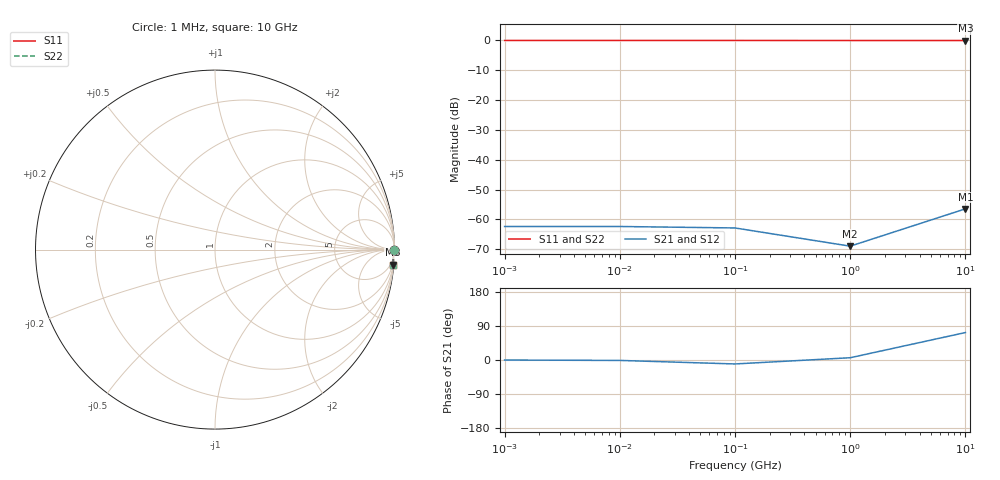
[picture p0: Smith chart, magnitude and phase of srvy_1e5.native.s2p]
! Sonnet Data File
! From: em Version : 18.53-Lite
! From Project: d_s6_1e5
! Data is NOT De-embedded
! Data File Written: 10/12/2026 11:28:07
!< HDATE 10/12/2026 11:28:07
!< MDATE 10/12/2026 11:28:07
# GHZ S RI R 50.00000
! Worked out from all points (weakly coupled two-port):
!   5 points, 1 MHz to 10 GHz, reference 50 ohm
!   highest |S21| = -56.45 dB at 10 GHz (marker M1); lowest = -69.0 dB at 1 GHz (marker M2)
!   lowest |S11| = 0.0 dB at 10 GHz (marker M3), VSWR 360.06, Z = 78 - j1.18e+03 ohm
!   |S11| at or under -10 dB: nowhere
!   |S22| runs from 0.0 to 0.0 dB; largest |S21 - S12| = 1.1e-11
0.001  0.9971 -1.55e-05  0.000762 -1.5e-06  0.000762 -1.5e-06  0.9971 -1.55e-05
0.01  0.9971 -0.000155  0.000762 -1.5e-05  0.000762 -1.5e-05  0.9971 -0.000155
0.1  0.9969 -0.00148  0.000708 -0.00013  0.000708 -0.00013  0.9969 -0.00148
1  0.9949 -0.00924  0.000355 3.71e-05  0.000355 3.71e-05  0.9949 -0.00924
10  0.9909 -0.0837  0.000454 0.00143  0.000454 0.00143  0.9909 -0.0837
